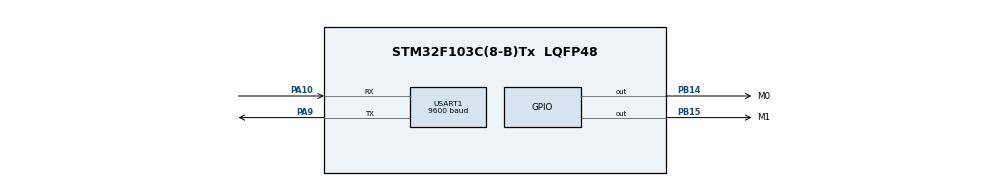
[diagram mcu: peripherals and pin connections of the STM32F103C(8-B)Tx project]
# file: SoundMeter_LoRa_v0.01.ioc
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Mcu.Family=STM32F1
Mcu.Name=STM32F103C(8-B)Tx
Mcu.Package=LQFP48
NVIC.PriorityGroup=NVIC_PRIORITYGROUP_4
NVIC.USART1_IRQn=true\:0\:0\:false\:false\:true\:true\:true\:true
PA10.Mode=Asynchronous
PA10.Signal=USART1_RX
PA13.Mode=Serial_Wire
PA13.Signal=SYS_JTMS-SWDIO
PA14.Mode=Serial_Wire
PA14.Signal=SYS_JTCK-SWCLK
PA9.Mode=Asynchronous
PA9.Signal=USART1_TX
PB14.GPIO_Label=M0
PB14.GPIO_PuPd=GPIO_PULLUP
PB14.GPIO_Speed=GPIO_SPEED_FREQ_HIGH
PB14.PinState=GPIO_PIN_SET
PB14.Signal=GPIO_Output
PB15.GPIO_Label=M1
PB15.GPIO_PuPd=GPIO_PULLUP
PB15.GPIO_Speed=GPIO_SPEED_FREQ_HIGH
PB15.PinState=GPIO_PIN_SET
PB15.Signal=GPIO_Output
PD0-OSC_IN.Mode=HSE-External-Oscillator
PD0-OSC_IN.Signal=RCC_OSC_IN
PD1-OSC_OUT.Mode=HSE-External-Oscillator
PD1-OSC_OUT.Signal=RCC_OSC_OUT
ProjectManager.HeapSize=0x200
ProjectManager.StackSize=0x400
ProjectManager.TargetToolchain=STM32CubeIDE
RCC.APB1Freq_Value=8000000
RCC.APB2Freq_Value=8000000
USART1.BaudRate=9600
USART1.VirtualMode=VM_ASYNC
board=custom

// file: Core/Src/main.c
/* USER CODE BEGIN Header */
/**
  ******************************************************************************
  * @file           : main.c
  * @brief          : Main program body
  ******************************************************************************
  * @attention
  *
  * Copyright (c) 2025 STMicroelectronics.
  * All rights reserved.
  *
  * This software is licensed under terms that can be found in the LICENSE file
  * in the root directory of this software component.
  * If no LICENSE file comes with this software, it is provided AS-IS.
  *
  ******************************************************************************
  */
/* USER CODE END Header */
#include "main.h"

/* USER CODE BEGIN Includes */

#include "lora.h"

/* USER CODE END Includes */

UART_HandleTypeDef huart1;

/* USER CODE BEGIN PV */

uint8_t init_cplt_flag = ERROR;
uint8_t over_flag = ERROR;
uint8_t rx_buff;
uint8_t rx_count = 3;
uint8_t buffer[MAX_BYTES];

/* USER CODE END PV */

void SystemClock_Config(void);
static void MX_GPIO_Init(void);
static void MX_USART1_UART_Init(void);
/* USER CODE BEGIN PFP */

void HAL_UART_RxCpltCallback(UART_HandleTypeDef *huart);
void HAL_UART_TxCpltCallback(UART_HandleTypeDef *huart);

/* USER CODE END PFP */

/* USER CODE BEGIN 0 */

void HAL_UART_RxCpltCallback(UART_HandleTypeDef *huart)
{
	if(init_cplt_flag == SUCCESS)
	{
		buffer[rx_count++] = rx_buff;
		if(rx_buff == 0x0A)
		{
			over_flag = SUCCESS;
			buffer[rx_count] = 0;
		}
		else
		{
			HAL_UART_Receive_IT(&huart1,(uint8_t *)&rx_buff, 1);
		}
	}
}

void HAL_UART_TxCpltCallback(UART_HandleTypeDef *huart)
{

}

/* USER CODE END 0 */

int main(void)
{

  /* USER CODE BEGIN 1 */

	uint32_t delay = 0;

#define TRASNSPARENT
//#define RELAY
//#define WOR

#ifdef TRASNSPARENT
	uint8_t transparent_string[] = "This is a transparent message\r\n";
#elif defined RELAY
	uint8_t relay_string[] = "This is a relay message\r\n";
#elif defined WOR
	uint8_t wor_string[] = "This is a wor message\r\n";
#endif

  /* USER CODE END 1 */

  /* MCU Configuration--------------------------------------------------------*/

  /* Reset of all peripherals, Initializes the Flash interface and the Systick. */
  HAL_Init();

  /* Configure the system clock */
  SystemClock_Config();

  /* Initialize all configured peripherals */
  MX_GPIO_Init();
  MX_USART1_UART_Init();
  /* USER CODE BEGIN 2 */

  HAL_Delay(1000); //dont delete wait for lora reset

#ifdef TRASNSPARENT
  while(ERROR == lora_cfg_mode(TRANSPARENT_MODE))
  {
	  HAL_Delay(500);
  }
#elif defined RELAY
  while(ERROR == lora_cfg_mode(RELAY_MODE))
  {
	  HAL_Delay(500);
  }
#elif defined WOR
  while(ERROR == lora_cfg_mode(WOR_TRANSMISSION_MODE))
  {
	  HAL_Delay(500);
  }
#endif

  	HAL_Delay(100);
  	HAL_UART_Receive_IT(&huart1, (uint8_t *)&rx_buff, 1);

  /* USER CODE END 2 */

  /* Infinite loop */
  while (1)
  {

    /* USER CODE BEGIN 3 */

#ifdef TRASNSPARENT
	  if(delay++ > 18000000)
	  {
		  lora_send((int8_t *)transparent_string);
		  delay = 0;
	  }
#elif defined	RELAY
	  if(delay++ > 18000000)
	  {
		  lora_send((int8_t *)relay_string);
		  delay = 0;
	  }
#elif defined WOR
	  if(delay++ > 18000000)
	  {
		  delay = 0;
		  lora_send((int8_t *)wor_string);
		  HAL_GPIO_WritePin(GPIOA, GPIO_PIN_1, GPIO_PIN_SET);
		  while(delay++ < 30000);
		  HAL_GPIO_WritePin(GPIOA, GPIO_PIN_1, GPIO_PIN_RESET);
		  delay = 0;
	  }
#endif

	  if(over_flag == SUCCESS)
	  {
		  HAL_UART_Transmit_IT(&huart1, buffer, strlen((const char *)buffer));
		  over_flag = ERROR;
		  rx_count = 0;
		  HAL_UART_Receive_IT(&huart1, (uint8_t *)&rx_buff, 1);
	  }
  }

  /* USER CODE END 3 */
}

void SystemClock_Config(void)
{
  RCC_OscInitTypeDef RCC_OscInitStruct = {0};
  RCC_ClkInitTypeDef RCC_ClkInitStruct = {0};

  /** Initializes the RCC Oscillators according to the specified parameters
  * in the RCC_OscInitTypeDef structure.
  */
  RCC_OscInitStruct.OscillatorType = RCC_OSCILLATORTYPE_HSI;
  RCC_OscInitStruct.HSIState = RCC_HSI_ON;
  RCC_OscInitStruct.HSICalibrationValue = RCC_HSICALIBRATION_DEFAULT;
  RCC_OscInitStruct.PLL.PLLState = RCC_PLL_NONE;
  if (HAL_RCC_OscConfig(&RCC_OscInitStruct) != HAL_OK)
  {
    Error_Handler();
  }

  /** Initializes the CPU, AHB and APB buses clocks
  */
  RCC_ClkInitStruct.ClockType = RCC_CLOCKTYPE_HCLK|RCC_CLOCKTYPE_SYSCLK
                              |RCC_CLOCKTYPE_PCLK1|RCC_CLOCKTYPE_PCLK2;
  RCC_ClkInitStruct.SYSCLKSource = RCC_SYSCLKSOURCE_HSI;
  RCC_ClkInitStruct.AHBCLKDivider = RCC_SYSCLK_DIV1;
  RCC_ClkInitStruct.APB1CLKDivider = RCC_HCLK_DIV1;
  RCC_ClkInitStruct.APB2CLKDivider = RCC_HCLK_DIV1;

  if (HAL_RCC_ClockConfig(&RCC_ClkInitStruct, FLASH_LATENCY_0) != HAL_OK)
  {
    Error_Handler();
  }
}

static void MX_USART1_UART_Init(void)
{

  huart1.Instance = USART1;
  huart1.Init.BaudRate = 9600;
  huart1.Init.WordLength = UART_WORDLENGTH_8B;
  huart1.Init.StopBits = UART_STOPBITS_1;
  huart1.Init.Parity = UART_PARITY_NONE;
  huart1.Init.Mode = UART_MODE_TX_RX;
  huart1.Init.HwFlowCtl = UART_HWCONTROL_NONE;
  huart1.Init.OverSampling = UART_OVERSAMPLING_16;
  if (HAL_UART_Init(&huart1) != HAL_OK)
  {
    Error_Handler();
  }

}

static void MX_GPIO_Init(void)
{
  GPIO_InitTypeDef GPIO_InitStruct = {0};

  /* GPIO Ports Clock Enable */
  __HAL_RCC_GPIOD_CLK_ENABLE();
  __HAL_RCC_GPIOB_CLK_ENABLE();
  __HAL_RCC_GPIOA_CLK_ENABLE();

  /*Configure GPIO pin Output Level */
  HAL_GPIO_WritePin(GPIOB, M0_Pin|M1_Pin, GPIO_PIN_SET);

  /*Configure GPIO pins : M0_Pin M1_Pin */
  GPIO_InitStruct.Pin = M0_Pin|M1_Pin;
  GPIO_InitStruct.Mode = GPIO_MODE_OUTPUT_PP;
  GPIO_InitStruct.Pull = GPIO_PULLUP;
  GPIO_InitStruct.Speed = GPIO_SPEED_FREQ_HIGH;
  HAL_GPIO_Init(GPIOB, &GPIO_InitStruct);

}

void Error_Handler(void)
{
  __disable_irq();
  while (1)
  {
  }
}
